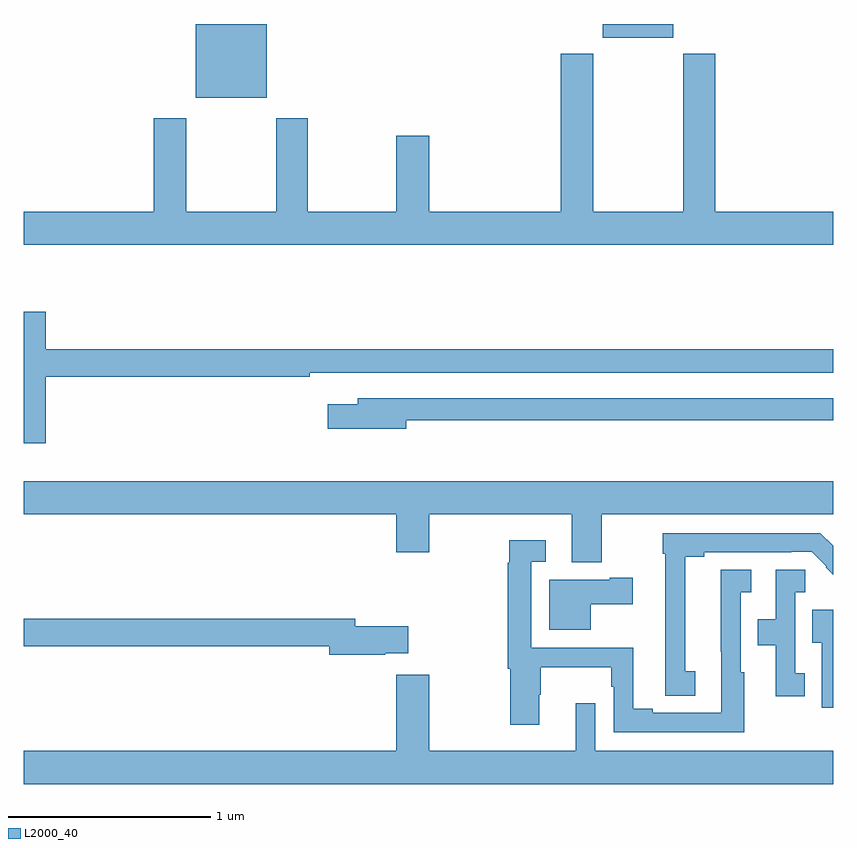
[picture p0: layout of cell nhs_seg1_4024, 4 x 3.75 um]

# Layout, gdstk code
import gdstk
lib = gdstk.Library(unit=1e-6, precision=1e-09)
def R(c, l, rs):  # rectangles x0, y0, x1, y1
    for r in rs: c.add(gdstk.rectangle(r[:2], r[2:], *l))
def P(c, l, *ps):  # polygons
    for p in ps: c.add(gdstk.Polygon(p, *l))
L2000_40 = (2000, 40)

nhs_seg1_4024 = lib.new_cell('nhs_seg1_4024')
R(nhs_seg1_4024, L2000_40, [(331.85,509.834,332.2,510.199), (333.86,510.131,334.21,510.199)])
P(nhs_seg1_4024, L2000_40, [(335,509.272),(334.418,509.272),(334.418,510.052),(334.258,510.052),(334.258,509.272),(333.813,509.272),(333.813,510.052),(333.653,510.052),(333.653,509.272),(333.004,509.272),(333.004,509.647),(332.84,509.647),(332.84,509.272),(332.403,509.272),(332.403,509.734),(332.248,509.734),(332.248,509.272),(331.803,509.272),(331.803,509.734),(331.643,509.734),(331.643,509.272),(331,509.272),(331,509.108),(335,509.108)],
  [(331.109,508.456),(332.414,508.456),(332.414,508.476),(335,508.476),(335,508.592),(331.109,508.592),(331.109,508.777),(331,508.777),(331,508.128),(331.109,508.128)],
  [(332.89,508.242),(335,508.242),(335,508.35),(332.651,508.35),(332.651,508.321),(332.502,508.321),(332.502,508.199),(332.89,508.199)],
  [(333.855,507.776),(335,507.776),(335,507.94),(331,507.94),(331,507.776),(332.84,507.776),(332.84,507.588),(333.004,507.588),(333.004,507.776),(333.707,507.776),(333.707,507.539),(333.855,507.539)],
  [(334.318,507),(334.268,507),(334.268,507.568),(334.363,507.568),(334.363,507.588),(334.793,507.588),(334.793,507.591),(334.893,507.591),(334.965,507.519),(334.962,507.516),(335,507.478),(335,507.621),(334.936,507.684),(334.158,507.684),(334.158,507.581),(334.169,507.581),(334.169,506.881),(334.318,506.881)],
  [(334.561,506.997),(334.542,506.997),(334.542,507.392),(334.594,507.392),(334.594,507.503),(334.445,507.503),(334.445,507.097),(334.446,507.097),(334.446,506.796),(334.108,506.796),(334.108,506.816),(334.012,506.816),(334.012,507.117),(333.507,507.117),(333.507,507.543),(333.58,507.543),(333.58,507.649),(333.399,507.649),(333.399,507.536),(333.391,507.536),(333.391,507.014),(333.403,507.014),(333.403,506.736),(333.547,506.736),(333.547,506.886),(333.555,506.886),(333.555,507.02),(333.903,507.02),(333.903,506.924),(333.915,506.924),(333.915,506.7),(334.561,506.7)],
  [(334.859,506.99),(334.812,506.99),(334.812,507.392),(334.861,507.392),(334.861,507.503),(334.716,507.503),(334.716,507.259),(334.627,507.259),(334.627,507.13),(334.715,507.13),(334.715,506.877),(334.859,506.877)],
  [(333.802,507.332),(334.009,507.332),(334.009,507.462),(333.896,507.462),(333.896,507.454),(333.596,507.454),(333.596,507.206),(333.802,507.206)],
  [(335,507.304),(334.897,507.304),(334.897,507.143),(334.944,507.143),(334.944,506.82),(335,506.82)],
  [(332.786,507.089),(332.899,507.089),(332.899,507.224),(332.638,507.224),(332.638,507.26),(331,507.26),(331,507.124),(332.51,507.124),(332.51,507.082),(332.786,507.082)],
  [(335,506.608),(333.825,506.608),(333.825,506.842),(333.728,506.842),(333.728,506.608),(333.004,506.608),(333.004,506.983),(332.84,506.983),(332.84,506.608),(331,506.608),(331,506.444),(335,506.444)])

lib.write_gds('nhs_seg1_4024.gds')
